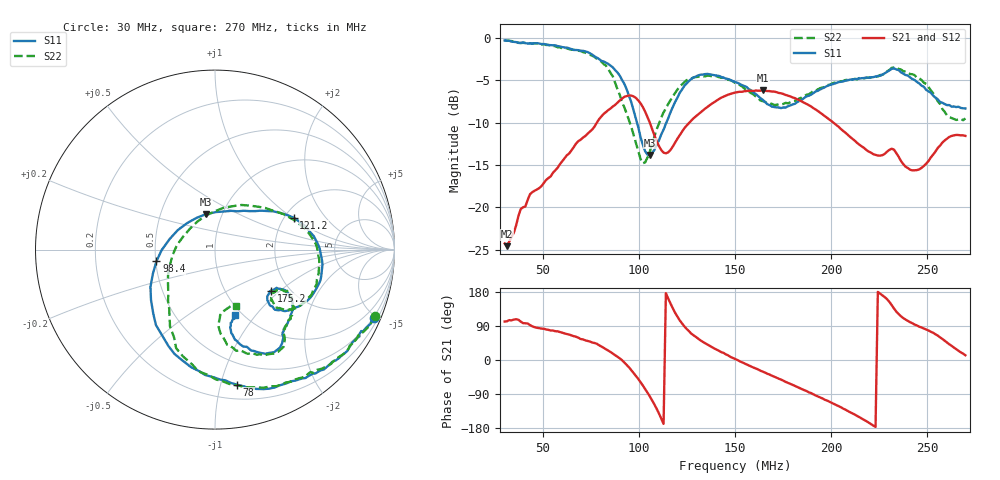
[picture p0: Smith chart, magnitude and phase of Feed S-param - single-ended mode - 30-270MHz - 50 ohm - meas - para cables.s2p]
#  HZ  S  RI  R  50.0
! Rohde & Schwarz ZVL3 2Ports - Version 3.31 - 1303.6509k03 SN: 101102
! Date: 2016-10-20 14:18:11
! Data & Calibration Information:
! Trc1:S11(TOSM) Trc2:S21(TOSM) Trc3:S12(TOSM) Trc4:S22(TOSM)
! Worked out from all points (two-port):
!   201 points, 30 MHz to 270 MHz, reference 50 ohm
!   highest |S21| = -6.20 dB at 164.4 MHz (marker M1); lowest = -24.6 dB at 31.2 MHz (marker M2)
!   |S21| within 3 dB of the highest: 80.75 MHz to 104.1 MHz (23.38 MHz wide, 25.3 % of centre); 130 MHz to 196.5 MHz (66.47 MHz wide, 40.7 % of centre)
!   lowest |S11| = -13.8 dB at 105.6 MHz (marker M3), VSWR 1.51, Z = 42.1 + j17.4 ohm
!   |S11| at or under -10 dB: 98.94 MHz to 114.3 MHz (15.33 MHz wide, 14.4 % of centre)
!   |S22| runs from -14.8 to -0.3 dB; largest |S21 - S12| = 0.0067
!   S11 on the Smith chart (normalised r, x): 30 MHz: 0.45, -4.82; 78 MHz: 0.31, -1.13; 98.4 MHz: 0.50, -0.07; 121.2 MHz: 2.23, +1.03; 175.2 MHz: 1.62, -0.87; 270 MHz: 0.93, -0.80
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3e7  0.8853 -0.3804  -0.0122 0.0599  -0.0115 0.0573  0.8893 -0.371
3.12e7  0.8739 -0.3994  -0.0124 0.0577  -0.0127 0.0578  0.8728 -0.404
4.32e7  0.7676 -0.515  -0.0047 0.1192  -0.00652 0.1193  0.7663 -0.5221
7.08e7  0.333 -0.768  0.1501 0.209  0.1506 0.2072  0.3125 -0.7611
7.8e7  0.1225 -0.7526  0.2307 0.2143  0.2319 0.2137  0.0767 -0.7478
8.88e7  -0.2258 -0.5812  0.4094 0.0635  0.4108 0.0656  -0.2507 -0.4284
9.36e7  -0.3441 -0.3564  0.4415 -0.1004  0.4419 -0.1028  -0.2601 -0.2438
9.84e7  -0.3261 -0.0649  0.3273 -0.2959  0.3282 -0.2948  -0.2357 -0.0294
1.02e8  -0.2071 0.1088  0.1508 -0.3598  0.1502 -0.3599  -0.1377 0.1185
1.056e8  -0.0482 0.1978  -0.0309 -0.3146  -0.0306 -0.3135  -0.00346 0.2122
1.104e8  0.1274 0.2133  -0.1787 -0.1442  -0.1791 -0.1434  0.1906 0.2454
1.212e8  0.4382 0.1782  -0.0674 0.2577  -0.0685 0.2571  0.5 0.1166
1.32e8  0.5992 -0.0835  0.2233 0.2854  0.2222 0.2864  0.5774 -0.132
1.5e8  0.4366 -0.3322  0.474 0.0223  0.4749 0.0256  0.4273 -0.3324
1.644e8  0.3034 -0.3062  0.4217 -0.2486  0.4216 -0.2465  0.3127 -0.2839
1.752e8  0.3133 -0.2291  0.2698 -0.3797  0.2686 -0.3807  0.3308 -0.2377
1.908e8  0.4057 -0.2408  -0.00292 -0.3845  -0.00288 -0.3848  0.4178 -0.2475
2.064e8  0.4281 -0.3498  -0.1751 -0.2203  -0.1767 -0.2194  0.4288 -0.3532
2.304e8  0.3741 -0.5213  -0.1951 0.0973  -0.1952 0.0978  0.3869 -0.5169
2.424e8  0.1771 -0.5414  -0.0198 0.1638  -0.0205 0.164  0.1836 -0.5808
2.532e8  0.0879 -0.4471  0.0637 0.1942  0.0654 0.1938  0.0319 -0.4696
2.7e8  0.1141 -0.3652  0.2573 0.0574  0.2557 0.0595  0.1156 -0.3139
